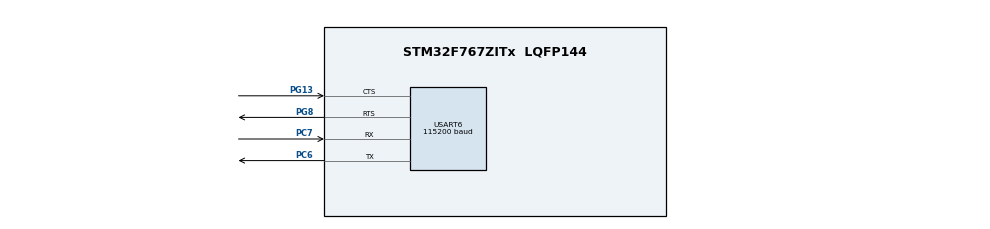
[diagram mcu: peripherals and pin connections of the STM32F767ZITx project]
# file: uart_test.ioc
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Mcu.Family=STM32F7
Mcu.Name=STM32F767ZITx
Mcu.Package=LQFP144
NVIC.PriorityGroup=NVIC_PRIORITYGROUP_4
NVIC.TIM3_IRQn=true\:0\:0\:false\:false\:true\:true\:true
NVIC.USART6_IRQn=true\:0\:0\:false\:false\:true\:true\:true
PC6.Mode=Asynchronous
PC6.Signal=USART6_TX
PC7.Mode=Asynchronous
PC7.Signal=USART6_RX
PG13.Mode=CTS_RTS
PG13.Signal=USART6_CTS
PG8.Mode=CTS_RTS
PG8.Signal=USART6_RTS
ProjectManager.HeapSize=0x200
ProjectManager.StackSize=0x400
ProjectManager.TargetToolchain=STM32CubeIDE
RCC.HSE_VALUE=25000000
RCC.HSI_VALUE=16000000
RCC.LSE_VALUE=32768
RCC.USBFreq_Value=96000000
RCC.VCOOutputFreq_Value=192000000
TIM3.Period=9
TIM3.Prescaler=39999
USART6.BaudRate=115200
USART6.Parity=PARITY_ODD
USART6.StopBits=STOPBITS_1
USART6.VirtualMode-Asynchronous=VM_ASYNC
USART6.WordLength=WORDLENGTH_9B
VP_TIM3_VS_ClockSourceINT.Mode=Internal
board=custom

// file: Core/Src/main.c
/* USER CODE BEGIN Header */
/**
 ******************************************************************************
 * @file           : main.c
 * @brief          : Main program body
 ******************************************************************************
 * @attention
 *
 * <h2><center>&copy; Copyright (c) 2019 STMicroelectronics.
 * All rights reserved.</center></h2>
 *
 * This software component is licensed by ST under BSD 3-Clause license,
 * the "License"; You may not use this file except in compliance with the
 * License. You may obtain a copy of the License at:
 *                        opensource.org/licenses/BSD-3-Clause
 *
 ******************************************************************************
 */
/* USER CODE END Header */

#include "main.h"

/* USER CODE BEGIN Includes */
#include "communication_utils.h"

/* USER CODE END Includes */

TIM_HandleTypeDef htim3;

UART_HandleTypeDef huart6;

void SystemClock_Config(void);
static void MX_GPIO_Init(void);
static void MX_USART6_UART_Init(void);
static void MX_TIM3_Init(void);

/* USER CODE BEGIN 0 */

// COMMUNICATION STUFF

uint8_t *tx_buffer;
uint8_t *rx_buffer;

odometry_msg odom_msg;
velocity_msg vel_msg;
velocity_msg test_msg;
int test = 0;
/* USER CODE END 0 */

int main(void)
{

  /* MCU Configuration--------------------------------------------------------*/

  /* Reset of all peripherals, Initializes the Flash interface and the Systick. */
  HAL_Init();

  /* Configure the system clock */
  SystemClock_Config();

  /* Initialize all configured peripherals */
  MX_GPIO_Init();
  MX_USART6_UART_Init();
  MX_TIM3_Init();
  /* USER CODE BEGIN 2 */

  odom_msg.angular_velocity = 0.2;
  odom_msg.linear_velocity = 1.5;
  odom_msg.delta_time = 2.6;

  tx_buffer = (uint8_t *) &odom_msg;
  rx_buffer = (uint8_t*) &vel_msg;

  HAL_UART_Receive_IT(&huart6, rx_buffer, 8);

  HAL_TIM_Base_Start_IT(&htim3);

  /* USER CODE END 2 */

  /* Infinite loop */
  while (1) {

  }
}

void SystemClock_Config(void)
{
  RCC_OscInitTypeDef RCC_OscInitStruct = {0};
  RCC_ClkInitTypeDef RCC_ClkInitStruct = {0};
  RCC_PeriphCLKInitTypeDef PeriphClkInitStruct = {0};

  /** Configure the main internal regulator output voltage
  */
  __HAL_RCC_PWR_CLK_ENABLE();
  __HAL_PWR_VOLTAGESCALING_CONFIG(PWR_REGULATOR_VOLTAGE_SCALE3);
  /** Initializes the CPU, AHB and APB busses clocks
  */
  RCC_OscInitStruct.OscillatorType = RCC_OSCILLATORTYPE_HSI;
  RCC_OscInitStruct.HSIState = RCC_HSI_ON;
  RCC_OscInitStruct.HSICalibrationValue = RCC_HSICALIBRATION_DEFAULT;
  RCC_OscInitStruct.PLL.PLLState = RCC_PLL_NONE;
  if (HAL_RCC_OscConfig(&RCC_OscInitStruct) != HAL_OK)
  {
    Error_Handler();
  }
  /** Initializes the CPU, AHB and APB busses clocks
  */
  RCC_ClkInitStruct.ClockType = RCC_CLOCKTYPE_HCLK|RCC_CLOCKTYPE_SYSCLK
                              |RCC_CLOCKTYPE_PCLK1|RCC_CLOCKTYPE_PCLK2;
  RCC_ClkInitStruct.SYSCLKSource = RCC_SYSCLKSOURCE_HSI;
  RCC_ClkInitStruct.AHBCLKDivider = RCC_SYSCLK_DIV1;
  RCC_ClkInitStruct.APB1CLKDivider = RCC_HCLK_DIV1;
  RCC_ClkInitStruct.APB2CLKDivider = RCC_HCLK_DIV1;

  if (HAL_RCC_ClockConfig(&RCC_ClkInitStruct, FLASH_LATENCY_0) != HAL_OK)
  {
    Error_Handler();
  }
  PeriphClkInitStruct.PeriphClockSelection = RCC_PERIPHCLK_USART6;
  PeriphClkInitStruct.Usart6ClockSelection = RCC_USART6CLKSOURCE_PCLK2;
  if (HAL_RCCEx_PeriphCLKConfig(&PeriphClkInitStruct) != HAL_OK)
  {
    Error_Handler();
  }
}

static void MX_TIM3_Init(void)
{

  TIM_ClockConfigTypeDef sClockSourceConfig = {0};
  TIM_MasterConfigTypeDef sMasterConfig = {0};

  htim3.Instance = TIM3;
  htim3.Init.Prescaler = 39999;
  htim3.Init.CounterMode = TIM_COUNTERMODE_UP;
  htim3.Init.Period = 9;
  htim3.Init.ClockDivision = TIM_CLOCKDIVISION_DIV1;
  htim3.Init.AutoReloadPreload = TIM_AUTORELOAD_PRELOAD_DISABLE;
  if (HAL_TIM_Base_Init(&htim3) != HAL_OK)
  {
    Error_Handler();
  }
  sClockSourceConfig.ClockSource = TIM_CLOCKSOURCE_INTERNAL;
  if (HAL_TIM_ConfigClockSource(&htim3, &sClockSourceConfig) != HAL_OK)
  {
    Error_Handler();
  }
  sMasterConfig.MasterOutputTrigger = TIM_TRGO_RESET;
  sMasterConfig.MasterSlaveMode = TIM_MASTERSLAVEMODE_DISABLE;
  if (HAL_TIMEx_MasterConfigSynchronization(&htim3, &sMasterConfig) != HAL_OK)
  {
    Error_Handler();
  }

}

static void MX_USART6_UART_Init(void)
{

  huart6.Instance = USART6;
  huart6.Init.BaudRate = 115200;
  huart6.Init.WordLength = UART_WORDLENGTH_9B;
  huart6.Init.StopBits = UART_STOPBITS_1;
  huart6.Init.Parity = UART_PARITY_ODD;
  huart6.Init.Mode = UART_MODE_TX_RX;
  huart6.Init.HwFlowCtl = UART_HWCONTROL_NONE;
  huart6.Init.OverSampling = UART_OVERSAMPLING_16;
  huart6.Init.OneBitSampling = UART_ONE_BIT_SAMPLE_DISABLE;
  huart6.AdvancedInit.AdvFeatureInit = UART_ADVFEATURE_NO_INIT;
  if (HAL_UART_Init(&huart6) != HAL_OK)
  {
    Error_Handler();
  }

}

static void MX_GPIO_Init(void)
{

  /* GPIO Ports Clock Enable */
  __HAL_RCC_GPIOC_CLK_ENABLE();

}

/* USER CODE BEGIN 4 */
void HAL_TIM_PeriodElapsedCallback(TIM_HandleTypeDef *htim) {
  if (htim->Instance == TIM3) {
    HAL_UART_Transmit(&huart6, tx_buffer, 12, 100);
  }
}

void HAL_UART_RxCpltCallback(UART_HandleTypeDef *UartHandle) {
  HAL_UART_Receive_IT(&huart6, rx_buffer, 8);
}

void HAL_UART_ErrorCallback(UART_HandleTypeDef *UartHandle){
  //TODO
}

/* USER CODE END 4 */

void Error_Handler(void)
{
}

/************************ (C) COPYRIGHT STMicroelectronics *****END OF FILE****/
